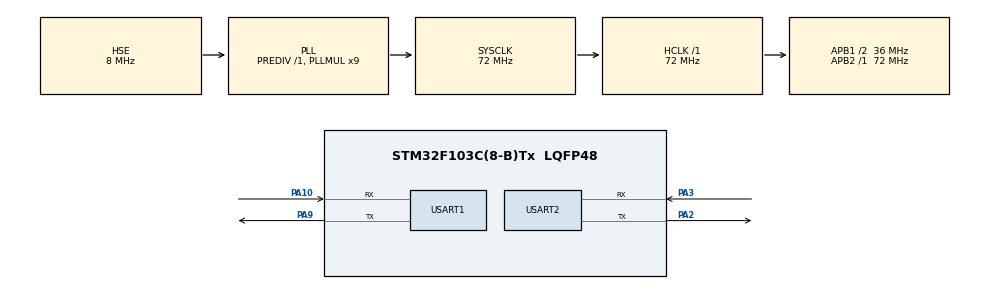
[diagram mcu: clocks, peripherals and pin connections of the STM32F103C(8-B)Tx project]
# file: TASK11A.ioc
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Mcu.Family=STM32F1
Mcu.Name=STM32F103C(8-B)Tx
Mcu.Package=LQFP48
NVIC.PriorityGroup=NVIC_PRIORITYGROUP_4
PA10.Mode=Asynchronous
PA10.Signal=USART1_RX
PA13.Mode=Serial_Wire
PA13.Signal=SYS_JTMS-SWDIO
PA14.Mode=Serial_Wire
PA14.Signal=SYS_JTCK-SWCLK
PA2.Mode=Asynchronous
PA2.Signal=USART2_TX
PA3.Mode=Asynchronous
PA3.Signal=USART2_RX
PA9.Mode=Asynchronous
PA9.Signal=USART1_TX
PD0-OSC_IN.Mode=HSE-External-Oscillator
PD0-OSC_IN.Signal=RCC_OSC_IN
PD1-OSC_OUT.Mode=HSE-External-Oscillator
PD1-OSC_OUT.Signal=RCC_OSC_OUT
ProjectManager.HeapSize=0x200
ProjectManager.StackSize=0x400
ProjectManager.TargetToolchain=STM32CubeIDE
RCC.AHBFreq_Value=72000000
RCC.APB1CLKDivider=RCC_HCLK_DIV2
RCC.APB1Freq_Value=36000000
RCC.APB1TimFreq_Value=72000000
RCC.APB2Freq_Value=72000000
RCC.APB2TimFreq_Value=72000000
RCC.HCLKFreq_Value=72000000
RCC.PLLMUL=RCC_PLL_MUL9
RCC.PLLSourceVirtual=RCC_PLLSOURCE_HSE
RCC.SYSCLKFreq_VALUE=72000000
RCC.SYSCLKSource=RCC_SYSCLKSOURCE_PLLCLK
RCC.USBFreq_Value=72000000
USART1.VirtualMode=VM_ASYNC
USART2.VirtualMode=VM_ASYNC
board=custom

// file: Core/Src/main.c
/* USER CODE BEGIN Header */
/**
  ******************************************************************************
  * @file           : main.c
  * @brief          : Main program body
  ******************************************************************************
  * @attention
  *
  * Copyright (c) 2026 STMicroelectronics.
  * All rights reserved.
  *
  * This software is licensed under terms that can be found in the LICENSE file
  * in the root directory of this software component.
  * If no LICENSE file comes with this software, it is provided AS-IS.
  *
  ******************************************************************************
  */
/* USER CODE END Header */
#include "main.h"
/* USER CODE BEGIN Includes */
#include <stdio.h>
#include <string.h>
/* USER CODE END Includes */

UART_HandleTypeDef huart1;
UART_HandleTypeDef huart2;

void SystemClock_Config(void);
static void MX_GPIO_Init(void);
static void MX_USART1_UART_Init(void);
static void MX_USART2_UART_Init(void);

/* USER CODE BEGIN 0 */
// UART Related
void sendUART(UART_HandleTypeDef *huart, char inp[]) {
    HAL_UART_Transmit(huart, (uint8_t *)inp, strlen(inp), HAL_MAX_DELAY);
    HAL_UART_Transmit(huart, (uint8_t *)"\r\n", 2, HAL_MAX_DELAY);
}

void recieveUART(UART_HandleTypeDef *huart, char* buf,int size) {
	uint8_t c;
	int lInd = 0;
	while (1) {
		if (HAL_UART_Receive(huart, &c, 1, HAL_MAX_DELAY) == HAL_OK) {
			if ((c == '\r') || (c == '\n')) {
				if (lInd > 0) {
					buf[lInd] = '\0';
					return;
				}
			} else if (lInd < size - 1) {
				buf[lInd++] = c;
			}
		}
	}
}

int sendATCommand(UART_HandleTypeDef *huart, char atCMD[],char *output,int outputSize) {
	output[0] = '\0';
	sendUART(huart, atCMD);
	char recBuf[512];
	while (1) {
		recieveUART(huart, recBuf, 64);
		strncat(output,recBuf, outputSize - strlen(output) - 1);
		strncat(output,"\r\n", outputSize - strlen(output) - 1);
		if (strcmp(recBuf, "OK") == 0) {
			return 1;
		} else if (strcmp(recBuf, "ERROR") == 0 || strcmp(recBuf, "FAIL") == 0) {
			return 0;
		}
	}
}

// Wifi Related
int initWifi(UART_HandleTypeDef *huart) {
	HAL_Delay(2000);
	__HAL_UART_CLEAR_OREFLAG(huart);
	char buf[32];
	sendATCommand(huart, "ATE0", buf, sizeof(buf));
	return sendATCommand(huart, "AT", buf, sizeof(buf));
}

int setMode(UART_HandleTypeDef *huart, char mode[], char *outBuf,int outBufSize) {
	outBuf[0] = '\0';
	char toSend[16];
	if (strcmp(mode,"STATION") == 0) {
		strcpy(toSend,"AT+CWMODE=1");
	} else if (strcmp(mode,"AP") == 0) {
		strcpy(toSend,"AT+CWMODE=2");
	} else if (strcmp(mode,"STATION_AP") == 0) {
		strcpy(toSend,"AT+CWMODE=3");
	} else {
		return -1;
	}
	return sendATCommand(huart, toSend, outBuf, outBufSize);
}

int joinAP(UART_HandleTypeDef *huart, char ssid[], char password[], char *outBuf,int outBufSize) {
	outBuf[0] = '\0';
	char toSend[128] = "AT+CWJAP=\"";
	strcat(toSend, ssid);
	strcat(toSend, "\",\"");
	strcat(toSend,password);
	strcat(toSend,"\"");
	return sendATCommand(huart, toSend, outBuf, outBufSize);
}

int getMAC(UART_HandleTypeDef *huart, char* macBuf,int macBufSize) {
	macBuf[0] = '\0';
	char outBuf[256];
	int ret = sendATCommand(huart, "AT+CIFSR", outBuf, sizeof(outBuf));
	if (ret) {
		char *mac = strstr(outBuf,"STAMAC");
		if (mac == NULL) {
			return 0;
		} else {
			mac += 8;
			int lastInd = 0;
			while (lastInd < macBufSize - 1 && *mac != '\0') {
				if (*mac == '\"') break;
				macBuf[lastInd++] = *mac;
				mac++;
			}
			macBuf[lastInd] = '\0';
		}
	}
	return ret;
}

int getIP(UART_HandleTypeDef *huart, char* ipBuf,int ipBufSize) {
	ipBuf[0] = '\0';
	char outBuf[256];
	int ret = sendATCommand(huart, "AT+CIFSR", outBuf, sizeof(outBuf));
	if (ret) {
		char *ip = strstr(outBuf,"STAIP");
		if (ip == NULL) {
			return 0;
		} else {
			ip += 7;
			int lastInd = 0;
			while (lastInd < ipBufSize - 1 && *ip != '\0') {
				if (*ip == '\"') break;
				ipBuf[lastInd++] = *ip;
				ip++;
			}
			ipBuf[lastInd] = '\0';
		}
	}
	return ret;
}

// Send an AT command to the Wemos and show the exchange on the PC terminal
char atResponse[1024];
int showATCommand(char atCMD[]) {
	char line[128];
	snprintf(line, sizeof(line), ">> %s", atCMD);
	sendUART(&huart2, line);
	int ret = sendATCommand(&huart1, atCMD, atResponse, sizeof(atResponse));
	char *start = atResponse;
	char *end;
	while ((end = strstr(start, "\r\n")) != NULL) {
		*end = '\0';
		snprintf(line, sizeof(line), "<< %.120s", start);
		sendUART(&huart2, line);
		start = end + 2;
	}
	return ret;
}
/* USER CODE END 0 */

int main(void)
{

  /* MCU Configuration--------------------------------------------------------*/

  /* Reset of all peripherals, Initializes the Flash interface and the Systick. */
  HAL_Init();

  /* Configure the system clock */
  SystemClock_Config();

  /* Initialize all configured peripherals */
  MX_GPIO_Init();
  MX_USART1_UART_Init();
  MX_USART2_UART_Init();
  /* USER CODE BEGIN 2 */
  char buf[128];
  char addr[64];
  int ret;

  // Connect the Wemos to the Wi-Fi network (station mode)
  sendUART(&huart2, "Initializing Wifi...");
  initWifi(&huart1);
  sendUART(&huart2, "Initialized Wifi");
  setMode(&huart1, "STATION", buf, sizeof(buf));

  sendUART(&huart2, "Connecting to Wifi...");
  ret = joinAP(&huart1, "SNUC", "snu12345", buf, sizeof(buf));
  if (ret) {
	  sendUART(&huart2, "Connected to Wifi Successfully");
	  getIP(&huart1, addr, sizeof(addr));
	  snprintf(buf, sizeof(buf), "IP Address: %s", addr);
	  sendUART(&huart2, buf);
	  getMAC(&huart1, addr, sizeof(addr));
	  snprintf(buf, sizeof(buf), "MAC Address: %s", addr);
	  sendUART(&huart2, buf);

	  // Configure the ESP8266 as a TCP server
	  showATCommand("AT");
	  showATCommand("AT+CIPMUX=1");
	  if (showATCommand("AT+CIPSERVER=1,80")) {
		  sendUART(&huart2, "TCP server started on port 80");
	  } else {
		  sendUART(&huart2, "Failed to start TCP server");
	  }
  } else {
	  sendUART(&huart2, "Failed to connect to wifi");
  }
  /* USER CODE END 2 */

  /* Infinite loop */
  while (1)
  {

  }
}

void SystemClock_Config(void)
{
  RCC_OscInitTypeDef RCC_OscInitStruct = {0};
  RCC_ClkInitTypeDef RCC_ClkInitStruct = {0};

  /** Initializes the RCC Oscillators according to the specified parameters
  * in the RCC_OscInitTypeDef structure.
  */
  RCC_OscInitStruct.OscillatorType = RCC_OSCILLATORTYPE_HSE;
  RCC_OscInitStruct.HSEState = RCC_HSE_ON;
  RCC_OscInitStruct.HSEPredivValue = RCC_HSE_PREDIV_DIV1;
  RCC_OscInitStruct.HSIState = RCC_HSI_ON;
  RCC_OscInitStruct.PLL.PLLState = RCC_PLL_ON;
  RCC_OscInitStruct.PLL.PLLSource = RCC_PLLSOURCE_HSE;
  RCC_OscInitStruct.PLL.PLLMUL = RCC_PLL_MUL9;
  if (HAL_RCC_OscConfig(&RCC_OscInitStruct) != HAL_OK)
  {
    Error_Handler();
  }

  /** Initializes the CPU, AHB and APB buses clocks
  */
  RCC_ClkInitStruct.ClockType = RCC_CLOCKTYPE_HCLK|RCC_CLOCKTYPE_SYSCLK
                              |RCC_CLOCKTYPE_PCLK1|RCC_CLOCKTYPE_PCLK2;
  RCC_ClkInitStruct.SYSCLKSource = RCC_SYSCLKSOURCE_PLLCLK;
  RCC_ClkInitStruct.AHBCLKDivider = RCC_SYSCLK_DIV1;
  RCC_ClkInitStruct.APB1CLKDivider = RCC_HCLK_DIV2;
  RCC_ClkInitStruct.APB2CLKDivider = RCC_HCLK_DIV1;

  if (HAL_RCC_ClockConfig(&RCC_ClkInitStruct, FLASH_LATENCY_2) != HAL_OK)
  {
    Error_Handler();
  }
}

static void MX_USART1_UART_Init(void)
{

  huart1.Instance = USART1;
  huart1.Init.BaudRate = 115200;
  huart1.Init.WordLength = UART_WORDLENGTH_8B;
  huart1.Init.StopBits = UART_STOPBITS_1;
  huart1.Init.Parity = UART_PARITY_NONE;
  huart1.Init.Mode = UART_MODE_TX_RX;
  huart1.Init.HwFlowCtl = UART_HWCONTROL_NONE;
  huart1.Init.OverSampling = UART_OVERSAMPLING_16;
  if (HAL_UART_Init(&huart1) != HAL_OK)
  {
    Error_Handler();
  }

}

static void MX_USART2_UART_Init(void)
{

  huart2.Instance = USART2;
  huart2.Init.BaudRate = 115200;
  huart2.Init.WordLength = UART_WORDLENGTH_8B;
  huart2.Init.StopBits = UART_STOPBITS_1;
  huart2.Init.Parity = UART_PARITY_NONE;
  huart2.Init.Mode = UART_MODE_TX_RX;
  huart2.Init.HwFlowCtl = UART_HWCONTROL_NONE;
  huart2.Init.OverSampling = UART_OVERSAMPLING_16;
  if (HAL_UART_Init(&huart2) != HAL_OK)
  {
    Error_Handler();
  }

}

static void MX_GPIO_Init(void)
{

  /* GPIO Ports Clock Enable */
  __HAL_RCC_GPIOD_CLK_ENABLE();
  __HAL_RCC_GPIOA_CLK_ENABLE();

}

void Error_Handler(void)
{
  __disable_irq();
  while (1)
  {
  }
}
